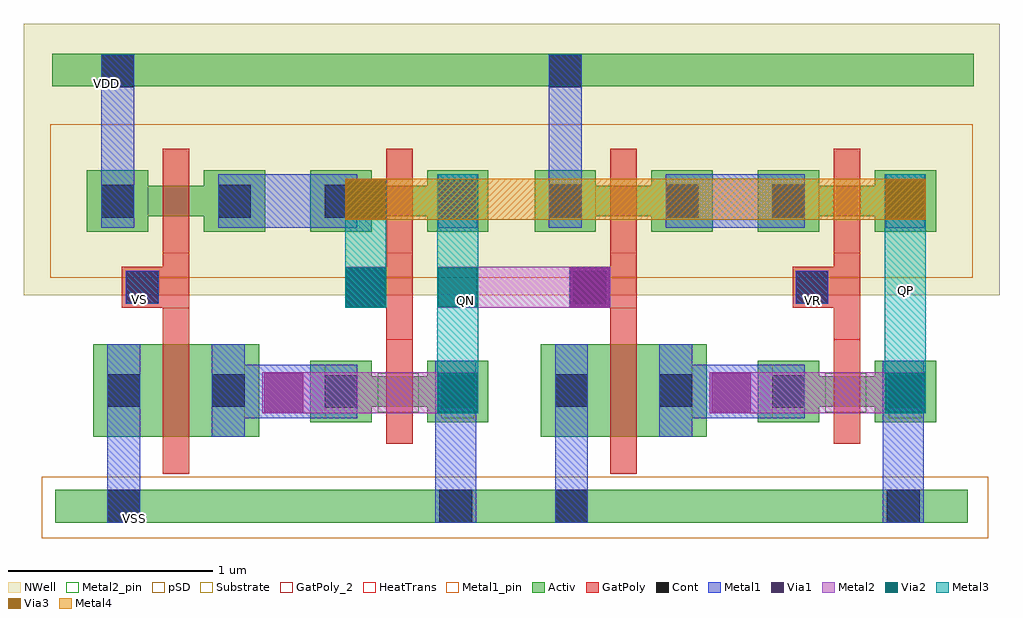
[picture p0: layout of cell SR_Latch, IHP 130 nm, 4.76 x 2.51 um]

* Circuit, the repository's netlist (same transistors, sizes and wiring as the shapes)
** sch_path: /home/designer/shared/GRO-TDC/std_cells/SR_Latch.sch
.subckt SR_Latch VDD VS QN QP VR VSS
*.PININFO VDD:B VSS:B VS:I VR:I QP:O QN:O
x1 VDD QN VS QP VSS NOR
x2 VDD QP QN VR VSS NOR
.ends

* expanding   symbol:  /home/designer/shared/GRO-TDC/std_cells/NOR.sym # of pins=5
** sym_path: /home/designer/shared/GRO-TDC/std_cells/NOR.sym
** sch_path: /home/designer/shared/GRO-TDC/std_cells/NOR.sch
.subckt NOR VDD VOUT VA VB VSS
*.PININFO VDD:B VSS:B VA:I VB:I VOUT:O
M1 VOUT VA VSS VSS sg13_lv_nmos w=0.45u l=0.13u ng=1 m=1
M2 VOUT VB VSS VSS sg13_lv_nmos w=0.15u l=0.13u ng=1 m=1
M3 VOUT VB net1 VDD sg13_lv_pmos w=0.15u l=0.13u ng=1 m=1
M4 net1 VA VDD VDD sg13_lv_pmos w=0.15u l=0.13u ng=1 m=1
.ends

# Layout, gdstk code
from math import pi, radians
import gdstk
lib = gdstk.Library(unit=1e-6, precision=5e-09)
def R(c, l, rs):  # rectangles x0, y0, x1, y1
    for r in rs: c.add(gdstk.rectangle(r[:2], r[2:], *l))
Activ = (1, 0)
GatPoly = (5, 0)
GatPoly_2 = (5, 2)
Cont = (6, 0)
Metal1 = (8, 0)
Metal1_pin = (8, 2)
Metal2 = (10, 0)
Metal2_pin = (10, 2)
pSD = (14, 0)
Via1 = (19, 0)
Via2 = (29, 0)
Metal3 = (30, 0)
NWell = (31, 0)
Substrate = (40, 0)
Via3 = (49, 0)
Metal4 = (50, 0)
HeatTrans = (51, 0)

pmos = lib.new_cell('pmos')
R(pmos, Activ, [(0,0,0.3,0.3), (0.57,0,0.87,0.3), (0,0.075,0.87,0.225)])
R(pmos, GatPoly, [(0.37,-0.105,0.5,0.405), (0.37,-0.105,0.5,0.405)])
R(pmos, Cont, [(0.07,0.07,0.23,0.23), (0.64,0.07,0.8,0.23)])
R(pmos, Metal1, [(0.07,0.02,0.23,0.28), (0.07,0.02,0.23,0.28), (0.64,0.02,0.8,0.28), (0.64,0.02,0.8,0.28)])
R(pmos, pSD, [(-0.18,-0.225,1.05,0.525)])
R(pmos, NWell, [(-0.31,-0.31,1.18,0.61)])
R(pmos, Substrate, [(0.57,0,0.87,0.3)])
R(pmos, HeatTrans, [(0.37,-0.105,0.5,0.405)])
pmos.add(gdstk.Label('pmos', (0.435,0.15), layer=63, texttype=0))
pmos.add(gdstk.Label('pmos', (0.435,0.15), layer=51, texttype=0))

nmos = lib.new_cell('nmos')
R(nmos, Activ, [(0,0,0.3,0.3), (0,0,0.81,0.45), (0.51,0,0.81,0.3)])
R(nmos, GatPoly, [(0.34,-0.18,0.47,0.63)])
R(nmos, GatPoly_2, [(0.34,-0.18,0.47,0.63)])
R(nmos, Cont, [(0.07,0.145,0.23,0.305), (0.58,0.145,0.74,0.305)])
R(nmos, Metal1, [(0.07,0,0.23,0.45), (0.58,0,0.74,0.45)])
R(nmos, Metal1_pin, [(0.07,0,0.23,0.45), (0.58,0,0.74,0.45)])
R(nmos, HeatTrans, [(0.34,-0.18,0.47,0.63)])
nmos.add(gdstk.Label('nmos', (0.405,0.225), layer=63, texttype=0))
nmos.add(gdstk.Label('nmos', (0.405,0.225), layer=51, texttype=0))

nmos_3 = lib.new_cell('nmos$3')
R(nmos_3, Activ, [(0,0,0.3,0.3), (0.57,0,0.87,0.3), (0,0.075,0.87,0.225)])
R(nmos_3, GatPoly, [(0.37,-0.105,0.5,0.405)])
R(nmos_3, GatPoly_2, [(0.37,-0.105,0.5,0.405)])
R(nmos_3, Cont, [(0.07,0.07,0.23,0.23), (0.64,0.07,0.8,0.23)])
R(nmos_3, Metal1, [(0.07,0.02,0.23,0.28), (0.64,0.02,0.8,0.28)])
R(nmos_3, Metal1_pin, [(0.07,0.02,0.23,0.28), (0.64,0.02,0.8,0.28)])
R(nmos_3, HeatTrans, [(0.37,-0.105,0.5,0.405)])
nmos_3.add(gdstk.Label('nmos', (0.435,0.15), layer=63, texttype=0))
nmos_3.add(gdstk.Label('nmos', (0.435,0.15), layer=51, texttype=0))

via2 = lib.new_cell('Via2')
R(via2, Metal2, [(0,0,0.2,0.2)])
R(via2, Via2, [(0.005,0.005,0.195,0.195)])
R(via2, Metal3, [(0,0,0.2,0.2)])

nor = lib.new_cell('NOR')
R(nor, Activ, [(-0.165,-0.175,2.105,-0.015), (-0.18,1.955,2.135,2.115)])
R(nor, GatPoly, [(1.45,0.615,1.58,1.16), (0.16,0.875,0.36,1.075), (0.36,0.875,0.49,1.145), (1.25,0.875,1.45,1.075)])
R(nor, Cont, [(0.09,-0.175,0.25,-0.015), (1.71,-0.175,1.87,-0.015), (0.18,0.895,0.34,1.055), (1.265,0.895,1.425,1.055), (0.06,1.95,0.22,2.11)])
R(nor, Metal1, [(0.09,-0.175,0.25,0.245), (1.69,-0.175,1.89,0.315), (1.69,0.315,1.89,0.615), (0.6,0.335,1.31,0.595), (0.18,0.895,0.34,1.055), (1.265,0.895,1.425,1.055), (0.63,1.265,1.31,1.525), (1.705,1.265,1.895,1.525), (0.06,1.525,0.22,2.11)])
R(nor, Metal1_pin, [(0.09,-0.175,0.25,-0.015), (1.71,-0.175,1.87,-0.015), (0.18,0.895,0.34,1.055), (1.265,0.895,1.425,1.055), (0.06,1.95,0.22,2.11)])
R(nor, Metal2, [(0.845,0.36,1.9,0.56)])
R(nor, Metal2_pin, [(1.41,0.365,1.61,0.555)])
R(nor, pSD, [(-0.23,-0.25,2.205,0.05)])
R(nor, Via1, [(0.855,0.365,1.045,0.555), (1.705,1.31,1.895,1.5)])
R(nor, Metal3, [(1.7,0.36,1.9,1.525)])
R(nor, NWell, [(-0.32,1.855,2.26,2.26)])
nor.add(gdstk.Reference(pmos, (1.95,1.245), rotation=pi, x_reflection=True))
nor.add(gdstk.Reference(nmos, (0.83,0.245), rotation=pi, x_reflection=True))
nor.add(gdstk.Reference(nmos_3, (1.95,0.315), rotation=pi, x_reflection=True))
nor.add(gdstk.Reference(pmos, (0.86,1.245), rotation=pi, x_reflection=True))
nor.add(gdstk.Reference(via2, (1.7,1.305)))
nor.add(gdstk.Reference(via2, (1.7,0.36)))
nor.add(gdstk.Label('VB', (1.295,0.975), layer=8, texttype=2))
nor.add(gdstk.Label('VA', (0.235,0.975), layer=8, texttype=2))
nor.add(gdstk.Label('VSS', (1.78,-0.05), layer=8, texttype=2))
nor.add(gdstk.Label('VDD', (0.085,2.07), layer=8, texttype=2))
nor.add(gdstk.Label('VSS', (0.16,-0.05), layer=8, texttype=2))
nor.add(gdstk.Label('VOUT', (1.545,0.5), layer=10, texttype=2))
nor.add(gdstk.Label('VB', (1.375,0.965), layer=8, texttype=25))

via1 = lib.new_cell('Via1')
R(via1, Metal1, [(0,0,0.2,0.2)])
R(via1, Metal2, [(0,0,0.2,0.2)])
R(via1, Via1, [(0.005,0.005,0.195,0.195)])

via3 = lib.new_cell('Via3')
R(via3, Metal3, [(0,0,0.2,0.2)])
R(via3, Via3, [(0.005,0.005,0.195,0.195)])
R(via3, Metal4, [(0,0,0.2,0.2)])

sr_latch = lib.new_cell('SR_Latch')
R(sr_latch, Metal2, [(2.025,1.125,2.87,1.325)])
R(sr_latch, Metal3, [(1.575,1.125,1.775,1.755), (4.21,1.755,4.41,1.775)])
R(sr_latch, Metal4, [(1.575,1.555,4.41,1.755)])
sr_latch.add(gdstk.Reference(nor, (0.325,0.25)))
sr_latch.add(gdstk.Reference(nor, (2.51,0.25)))
sr_latch.add(gdstk.Reference(via1, (2.67,1.125)))
sr_latch.add(gdstk.Reference(via2, (2.025,1.125)))
sr_latch.add(gdstk.Reference(via1, (1.575,1.125)))
sr_latch.add(gdstk.Reference(via2, (1.575,1.125)))
sr_latch.add(gdstk.Reference(via2, (1.575,1.555)))
sr_latch.add(gdstk.Reference(via2, (4.21,1.555)))
sr_latch.add(gdstk.Reference(via3, (1.575,1.555)))
sr_latch.add(gdstk.Reference(via3, (4.21,1.555)))
sr_latch.add(gdstk.Label('VS', (0.57,1.165), layer=8, texttype=25))
sr_latch.add(gdstk.Label('VR', (3.855,1.16), layer=8, texttype=25))
sr_latch.add(gdstk.Label('VDD', (0.41,2.22), layer=8, texttype=25))
sr_latch.add(gdstk.Label('VSS', (0.545,0.095), layer=8, texttype=25))
sr_latch.add(gdstk.Label('QN', (2.165,1.16), layer=30, texttype=25))
sr_latch.add(gdstk.Label('QP', (4.31,1.21), layer=30, texttype=25))

lib.write_gds('SR_Latch.gds')
